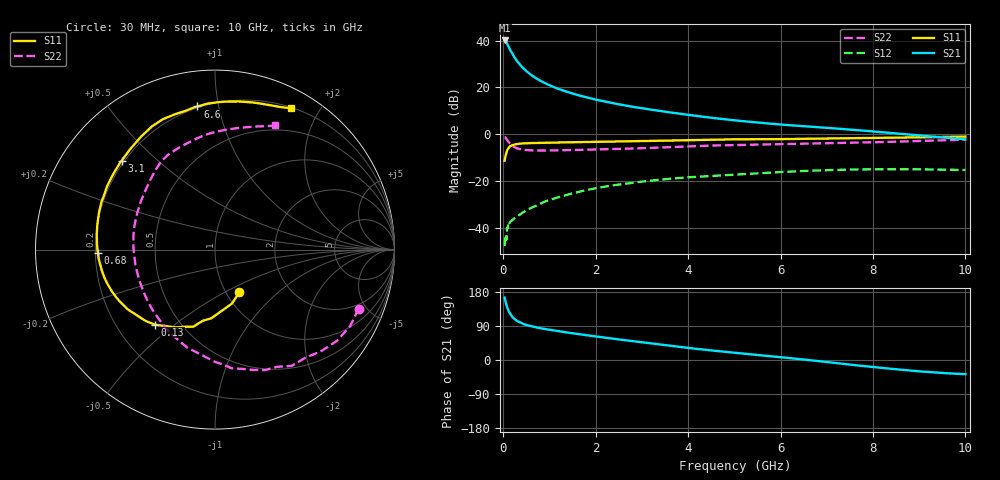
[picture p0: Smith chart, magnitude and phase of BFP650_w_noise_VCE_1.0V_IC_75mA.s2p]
! Infineon Technologies  Discrete & RF Semiconductors
! BFP650
! VCE =  1.0 V,  IC =  75 mA
! Common Emitter S-Parameters:  Jan 2016
# GHz  S  MA  R  50
!  f  S11  S21  S12  S22
! GHz  MAG  ANG  MAG  ANG  MAG  ANG  MAG  ANG
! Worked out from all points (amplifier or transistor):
!   229 points, 30 MHz to 10 GHz, reference 50 ohm
!   highest |S21| = 40.1 dB at 30 MHz (marker M1)
!   |S21| within 3 dB of that: start of sweep to 123.7 MHz
!   unconditionally stable (mu >= 1): 1.354 GHz to end of sweep
!   at 280 MHz: K = 0.60, MSG = 33.6 dB, |S12| = -35.3 dB
!   at 1.78 GHz: K = 1.02, MAG = 19.1 dB, |S12| = -23.9 dB
!   at 10 GHz: K = 1.04, MAG = 5.4 dB, |S12| = -15.2 dB
!   lowest NFmin = 1.21 dB at 450 MHz
!   S11 on the Smith chart (normalised r, x): 30 MHz: 1.15, -0.59; 130 MHz: 0.37, -0.43; 680 MHz: 0.21, -0.01; 3.1 GHz: 0.19, +0.39; 6.6 GHz: 0.19, +0.87; 10 GHz: 0.21, +1.66
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0.03  0.2732 -60.1  100.7 164.6  0.0041 85.7  0.8649 -22.3
0.04  0.3153 -72.6  99.98 159.2  0.0064 68.9  0.8653 -29.5
0.055  0.3632 -88.9  95.95 151.8  0.0069 65.9  0.8316 -40.3
0.065  0.3922 -96.5  93.13 147.4  0.0063 58.6  0.8011 -46.8
0.08  0.446 -105.7  87.73 141.1  0.0096 67.8  0.7761 -56.6
0.1  0.4858 -116.6  80 134.2  0.0099 59.1  0.7268 -67.5
0.13  0.5352 -128.6  69.24 126.0  0.0112 54.2  0.6674 -82.1
0.15  0.5553 -134.5  63.48 121.8  0.0135 59.7  0.6264 -89.8
0.2  0.5888 -145.5  51.58 113.3  0.0149 53.4  0.5675 -105.8
0.24  0.6046 -151.6  44.56 108.7  0.0162 51.9  0.5344 -115.4
0.3  0.6208 -158.4  36.45 103.1  0.0175 51.3  0.502 -127.2
0.45  0.6407 -169.0  24.81 94.5  0.022 54.9  0.4666 -146.3
0.68  0.653 -178.4  16.49 86.9  0.029 57.2  0.452 -162.9
1.1  0.6659 170.7  10.12 77.9  0.0426 57.3  0.454 -180.0
1.7  0.6834 158.8  6.519 67.2  0.0614 53.8  0.4663 165.0
3.1  0.7184 136.3  3.476 45.3  0.1003 39.0  0.5091 139.5
3.4  0.728 131.8  3.139 40.8  0.1078 35.7  0.5222 135.1
5.1  0.7826 110.9  1.945 18.0  0.1401 18.0  0.5922 114.8
6.6  0.8035 97.0  1.469 -0.0  0.1666 3.0  0.6305 98.3
6.8  0.8084 95.0  1.422 -2.6  0.1693 0.7  0.6358 96.5
8.4  0.846 75.7  1.065 -23.3  0.1798 -17.2  0.6921 78.6
10  0.8959 61.7  0.785 -37.5  0.1732 -29.4  0.7691 64.2
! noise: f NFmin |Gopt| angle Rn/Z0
0.45  1.21  0.5  -171  0.06
0.9  1.23  0.51  -165  0.06
1.9  1.36  0.53  -151  0.08
2.4  1.44  0.52  -141  0.1
3.5  1.65  0.54  -118  0.18
